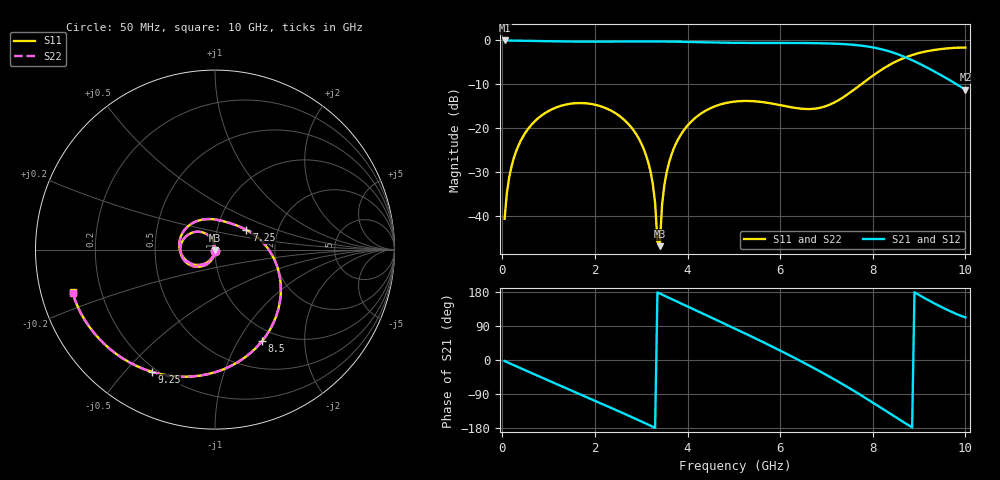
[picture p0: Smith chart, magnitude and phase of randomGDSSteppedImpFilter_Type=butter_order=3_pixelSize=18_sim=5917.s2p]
! freq	dB(S11)	phase(S11)	dB(S12)	phase(S12)
!  dB(S21)	phase(S21)	dB(S22)	phase(S22)
!S-par simulation data
#  GHz  S  DB  R 50
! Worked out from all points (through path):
!   200 points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, 50 MHz to 10 GHz, reference 50 ohm
!   highest |S21| = 0.00 dB at 50 MHz (marker M1); lowest = -11.2 dB at 10 GHz (marker M2)
!   group delay of S21, straight-line fit = 170 ps
!   lowest |S11| = -47.0 dB at 3.4 GHz (marker M3), VSWR 1.01, Z = 49.8 - j0.392 ohm
!   |S11| at or under -10 dB: start of sweep to 7.75 GHz
!   |S22| runs from -47.2 to -1.6 dB; largest |S21 - S12| = 0
!   S11 on the Smith chart (normalised r, x): 50 MHz: 1.00, -0.02; 7.25 GHz: 1.38, +0.32; 8.5 GHz: 0.83, -1.27; 9.25 GHz: 0.18, -0.59; 10 GHz: 0.10, -0.15
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0.05  -40.70 -92.3  -0.00 -2.8  -0.00 -2.8  -40.69 -92.3
0.2  -28.71 -101.0  -0.03 -11.0  -0.03 -11.0  -28.71 -101.0
0.5  -21.05 -117.6  -0.07 -27.4  -0.07 -27.4  -21.05 -117.6
1.15  -15.35 -152.8  -0.20 -62.3  -0.20 -62.3  -15.35 -152.8
1.75  -14.30 175.3  -0.28 -94.1  -0.28 -94.1  -14.30 175.3
2.95  -22.45 111.0  -0.22 -159.2  -0.22 -159.2  -22.45 110.8
3.2  -29.89 98.3  -0.22 -173.3  -0.22 -173.3  -29.89 97.9
3.3  -37.07 95.7  -0.23 -178.9  -0.23 -178.9  -37.08 94.7
3.35  -45.91 104.9  -0.23 178.2  -0.23 178.2  -46.02 101.5
3.4  -46.96 -118.6  -0.24 175.4  -0.24 175.4  -47.16 -114.7
3.5  -33.00 -104.1  -0.25 169.7  -0.25 169.7  -33.01 -103.4
3.8  -22.51 -118.7  -0.30 152.6  -0.30 152.6  -22.52 -118.5
4.45  -15.70 -154.9  -0.44 115.6  -0.44 115.6  -15.70 -154.9
5.05  -13.92 171.1  -0.55 81.2  -0.55 81.2  -13.92 171.1
5.95  -14.66 117.9  -0.58 27.9  -0.58 27.9  -14.66 117.8
6.7  -15.63 70.0  -0.61 -19.5  -0.61 -19.5  -15.63 69.8
7.25  -13.70 32.1  -0.77 -56.8  -0.77 -56.8  -13.70 31.9
7.8  -9.60 -8.4  -1.25 -97.0  -1.25 -97.0  -9.60 -8.5
8.35  -5.66 -51.2  -2.48 -139.8  -2.48 -139.8  -5.66 -51.3
8.5  -4.82 -62.9  -3.00 -151.4  -3.00 -151.4  -4.82 -63.0
9.25  -2.31 -117.4  -6.63 154.5  -6.63 154.5  -2.31 -117.3
10  -1.64 -163.2  -11.24 112.5  -11.24 112.5  -1.63 -163.1
